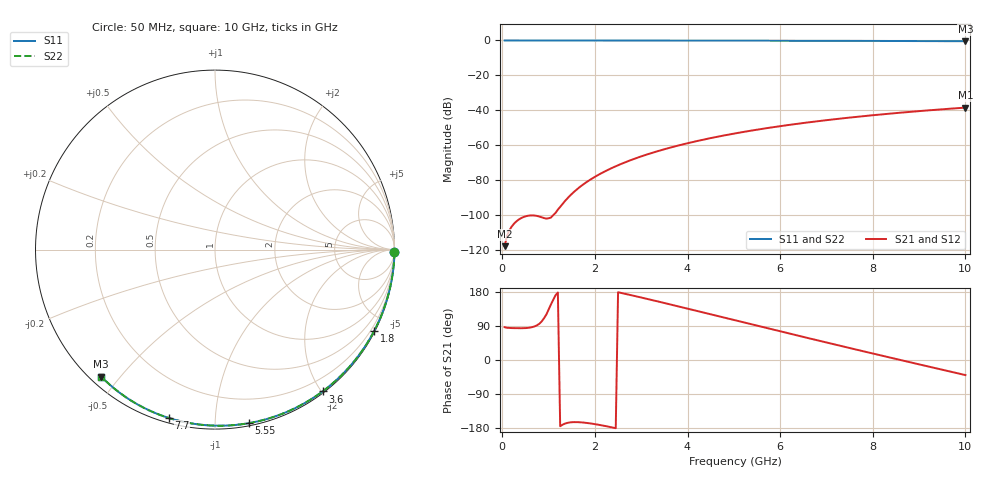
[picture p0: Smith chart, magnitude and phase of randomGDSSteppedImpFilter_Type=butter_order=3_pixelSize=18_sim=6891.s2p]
! freq	dB(S11)	phase(S11)	dB(S12)	phase(S12)
!  dB(S21)	phase(S21)	dB(S22)	phase(S22)
!S-par simulation data
#  GHz  S  DB  R 50
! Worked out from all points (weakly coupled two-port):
!   200 points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, 50 MHz to 10 GHz, reference 50 ohm
!   highest |S21| = -38.41 dB at 10 GHz (marker M1); lowest = -117.7 dB at 50 MHz (marker M2)
!   lowest |S11| = -0.4 dB at 10 GHz (marker M3), VSWR 39.00, Z = 1.54 - j22.3 ohm
!   |S11| at or under -10 dB: nowhere
!   |S22| runs from -0.4 to 0.0 dB; largest |S21 - S12| = 0
!   S11 on the Smith chart (normalised r, x): 50 MHz: open; 1.8 GHz: 0.04, -4.16; 3.6 GHz: 0.02, -2.01; 5.55 GHz: 0.02, -1.21; 7.7 GHz: 0.02, -0.76; 10 GHz: 0.03, -0.45
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0.05  -0.00 -0.8  -117.65 86.6  -117.65 86.6  -0.00 -0.8
0.9  -0.02 -13.6  -101.57 110.1  -101.57 110.1  -0.02 -13.6
1.75  -0.03 -26.3  -82.30 -165.0  -82.30 -165.0  -0.03 -26.3
1.8  -0.03 -27.0  -81.36 -165.7  -81.36 -165.7  -0.03 -27.0
1.85  -0.04 -27.8  -80.46 -166.5  -80.46 -166.5  -0.04 -27.8
1.9  -0.04 -28.5  -79.61 -167.3  -79.61 -167.3  -0.04 -28.5
2.05  -0.04 -30.7  -77.22 -170.3  -77.22 -170.3  -0.04 -30.7
2.25  -0.04 -33.6  -74.42 -174.9  -74.42 -174.9  -0.04 -33.6
2.45  -0.05 -36.5  -71.94 -179.9  -71.94 -179.9  -0.05 -36.5
2.65  -0.05 -39.4  -69.71 174.7  -69.71 174.7  -0.05 -39.4
3  -0.06 -44.4  -66.30 164.9  -66.30 164.9  -0.06 -44.4
3.4  -0.07 -50.1  -62.97 153.3  -62.97 153.3  -0.07 -50.1
3.6  -0.07 -52.8  -61.48 147.4  -61.48 147.4  -0.07 -52.8
4.3  -0.09 -62.5  -56.97 126.6  -56.97 126.6  -0.09 -62.5
5.05  -0.11 -72.4  -53.04 104.1  -53.04 104.1  -0.11 -72.4
5.55  -0.13 -78.9  -50.82 89.2  -50.82 89.2  -0.13 -78.9
6.1  -0.15 -85.9  -48.64 72.8  -48.64 72.8  -0.15 -85.9
6.7  -0.18 -93.4  -46.54 55.0  -46.54 55.0  -0.18 -93.4
7.7  -0.24 -105.4  -43.56 25.8  -43.56 25.8  -0.24 -105.4
8.35  -0.29 -113.0  -41.89 7.0  -41.89 7.0  -0.29 -113.0
9.15  -0.36 -122.2  -40.08 -15.8  -40.08 -15.8  -0.36 -122.2
10  -0.45 -131.9  -38.41 -39.8  -38.41 -39.8  -0.45 -131.9
